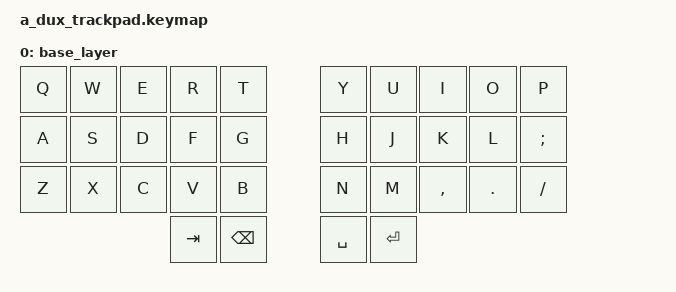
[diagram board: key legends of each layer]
/*
 * Copyright (c) 2021 The ZMK Contributors
 *
 * SPDX-License-Identifier: MIT
 */

#include <behaviors.dtsi>
#include <dt-bindings/zmk/keys.h>
#include <dt-bindings/zmk/bt.h>
#include <dt-bindings/zmk/rgb.h>
#include <dt-bindings/zmk/ext_power.h>
#include <dt-bindings/zmk/mouse.h>
/ {

    keymap {
        compatible = "zmk,keymap";

        // This is a sample keymap intended to be replaced with your own
        base_layer {
            bindings = <
                &kp Q     &kp W     &kp E     &kp R     &kp T     &kp Y     &kp U     &kp I     &kp O     &kp P
                &kp A     &kp S     &kp D     &kp F     &kp G     &kp H     &kp J     &kp K     &kp L     &kp SEMI
                &kp Z     &kp X     &kp C     &kp V     &kp B     &kp N     &kp M     &kp COMMA &kp DOT   &kp SLASH
                                              &kp TAB   &kp BSPC  &kp SPACE &kp ENTER
            >;
        };

    };
};
